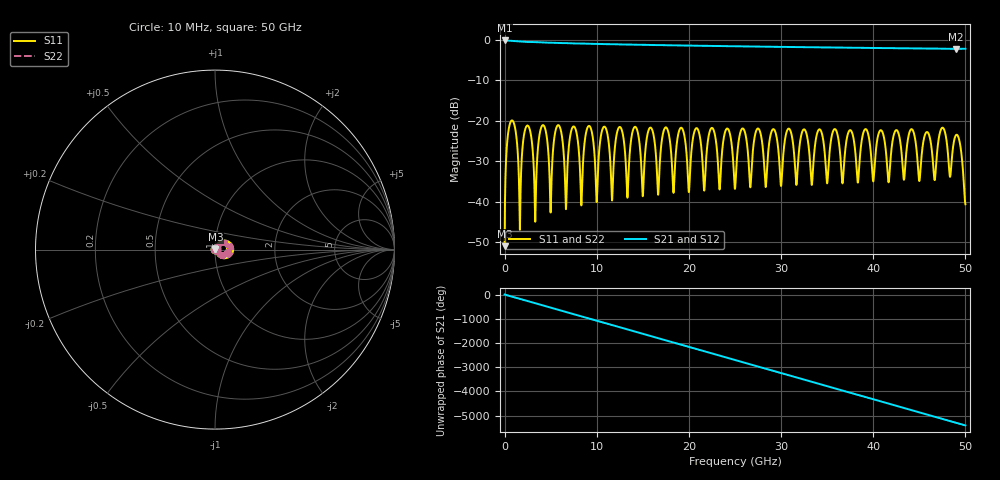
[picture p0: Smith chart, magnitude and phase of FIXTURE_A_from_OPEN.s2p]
! Fixture A extrait de OPEN (modele a une discontinuite, afr/reflect.py) - Fixture A synthetique : ligne Zc=55.0 ohm, delai=300 ps, pertes 1.0 dB @10 GHz (~sqrt(f)), eps_r_eff=3.0 -> 51.93 mm, Z0=50 ohm
! Frequency(Hz) S11 S21 S12 S22 (Re Im)
# Hz S RI R 50
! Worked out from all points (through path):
!   5000 points, 10 MHz to 50 GHz, reference 50 ohm
!   highest |S21| = -0.17 dB at 10 MHz (marker M1); lowest = -2.2 dB at 48.99 GHz (marker M2)
!   group delay of S21, straight-line fit = 300 ps
!   lowest |S11| = -50.9 dB at 10 MHz (marker M3), VSWR 1.01, Z = 50.2 + j0.196 ohm
!   |S11| at or under -10 dB: start of sweep to end of sweep
!   |S22| runs from -50.9 to -19.9 dB; largest |S21 - S12| = 0
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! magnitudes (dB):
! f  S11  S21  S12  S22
! 10 MHz  -50.9  -0.2  -0.2  -50.9
! 780 MHz  -19.9  -0.3  -0.3  -19.9
! 1.66 GHz  -46.7  -0.4  -0.4  -46.7
! 2.49 GHz  -21.2  -0.5  -0.5  -21.2
! 3.31 GHz  -43.3  -0.6  -0.6  -43.3
! 4.17 GHz  -21.1  -0.7  -0.7  -21.1
! 4.98 GHz  -41.8  -0.7  -0.7  -41.8
! 5.82 GHz  -21.1  -0.8  -0.8  -21.1
! 8.35 GHz  -40.5  -0.9  -0.9  -40.5
! 9.16 GHz  -21.3  -1.0  -1.0  -21.3
! 9.99 GHz  -40.0  -1.0  -1.0  -40.0
! 10.83 GHz  -21.4  -1.1  -1.1  -21.4
! 11.65 GHz  -39.4  -1.1  -1.1  -39.4
! 12.5 GHz  -21.5  -1.2  -1.2  -21.5
! 16.68 GHz  -38.1  -1.3  -1.3  -38.1
! 17.5 GHz  -21.6  -1.4  -1.4  -21.6
! 25.01 GHz  -36.8  -1.6  -1.6  -36.8
! 25.83 GHz  -21.9  -1.6  -1.6  -21.9
! 33.34 GHz  -35.8  -1.8  -1.8  -35.8
! 41.67 GHz  -35.2  -2.0  -2.0  -35.2
! 48.99 GHz  -23.5  -2.2  -2.2  -23.5
! 50 GHz  -40.6  -2.2  -2.2  -40.6
